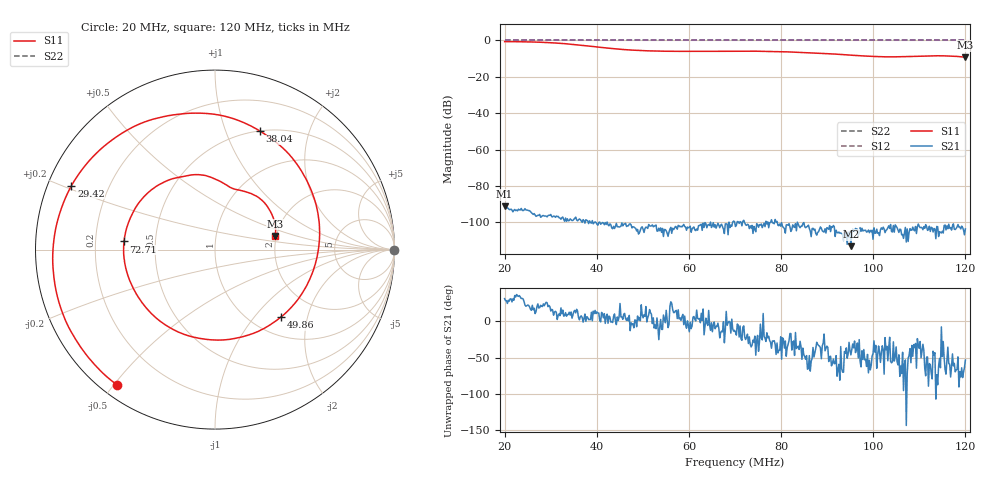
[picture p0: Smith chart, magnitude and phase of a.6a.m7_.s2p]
! Anritsu VNA Master:  Model: MS2036C/10/77
! SN:  1601066
! /bd0/18may07/256.ew.m7_.s2p
! Existing Calibration Information:
! TYPE:  Current Settings,  Active Cal Settings
! TIME:  05/07/2018 12:12:58 PM,  05/07/2018 12:05:13 PM
! INTERNAL TEMP:  54.3 C,  53.5 C
! # POINTS:  500,  500
! START FREQ:  20.000 MHz,  20.000 MHz
! STOP FREQ:  120.000 MHz,  120.000 MHz
! SOURCE POWER:  High,  High
! IFBW:  50 Hz,  50 Hz
! AVG FACTOR:  1 ,  1
! REF PLANE 1:  0 mm,  0 mm
! REF PLANE 2:  0 mm,  0 mm
! CAL TYPE:  Full S11,  Full S11
! CAL METHOD:  SOLT,  SOLT
! CAL LINE TYPE:  Coax,  Coax
! DUT PORT 1:  K-Conn(F),  K-Conn(F)
! DUT PORT 2:  K-Conn(F),  K-Conn(F)
! CAL STATUS:  OK: Accuracy High,  --
# GHZ S DB R 50.0
! FREQ.GHZ  S11DB  S11A  S21DB  S21A  S12DB  S12A  S22DB  S22A
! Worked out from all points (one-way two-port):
!   500 points, 20 MHz to 120 MHz, reference 50 ohm
!   highest |S21| = -91.13 dB at 20 MHz (marker M1); lowest = -113.1 dB at 95.15 MHz (marker M2)
!   lowest |S11| = -9.3 dB at 120 MHz (marker M3), VSWR 2.05, Z = 98.6 + j17.1 ohm
!   |S11| at or under -10 dB: nowhere
!   |S22| runs from 0.0 to 0.0 dB; largest |S21 - S12| = 1
!   S11 on the Smith chart (normalised r, x): 20 MHz: 0.05, -0.51; 29.42 MHz: 0.07, +0.21; 38.04 MHz: 0.50, +1.32; 49.86 MHz: 1.33, -1.39; 72.71 MHz: 0.33, +0.04; 120 MHz: 1.97, +0.34
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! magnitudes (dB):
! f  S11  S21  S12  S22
! 20 MHz  -0.6  -91.1  0.0  0.0
! 24.81 MHz  -0.8  -93.2  0.0  0.0
! 29.42 MHz  -1.2  -96.3  0.0  0.0
! 32.83 MHz  -1.7  -98.4  0.0  0.0
! 36.83 MHz  -2.7  -100.0  0.0  0.0
! 38.04 MHz  -3.0  -99.2  0.0  0.0
! 44.85 MHz  -4.8  -102.5  0.0  0.0
! 49.86 MHz  -5.6  -102.4  0.0  0.0
! 53.47 MHz  -5.9  -103.2  0.0  0.0
! 57.07 MHz  -6.0  -102.2  0.0  0.0
! 70.1 MHz  -5.9  -102.3  0.0  0.0
! 72.71 MHz  -5.9  -101.0  0.0  0.0
! 80.12 MHz  -6.2  -100.1  0.0  0.0
! 86.73 MHz  -6.9  -103.4  0.0  0.0
! 91.34 MHz  -7.4  -101.7  0.0  0.0
! 95.15 MHz  -8.1  -113.1  0.0  0.0
! 99.96 MHz  -8.8  -109.3  0.0  0.0
! 103.4 MHz  -9.0  -101.9  0.0  0.0
! 105.6 MHz  -9.0  -105.5  0.0  0.0
! 113.8 MHz  -8.4  -102.2  0.0  0.0
! 117.2 MHz  -8.6  -102.0  0.0  0.0
! 120 MHz  -9.3  -103.6  0.0  0.0
